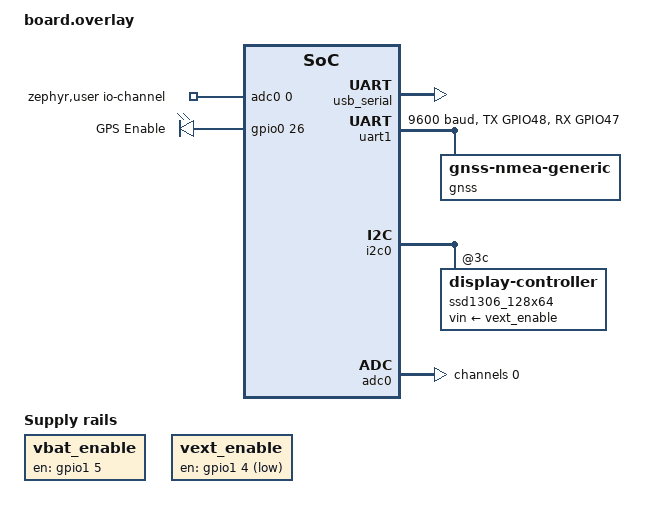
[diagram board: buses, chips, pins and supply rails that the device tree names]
/*
 * SPDX-License-Identifier: MIT
 * Heltec WiFi LoRa 32 V3 — ZephCore overlay
 *
 * The upstream Zephyr DTS already defines SX1262, SSD1306 OLED, button,
 * LED, battery ADC, Vext/ADC control, I2C0, SPI2, BLE, and WiFi.
 * This overlay adds ZephCore-specific integration on top.
 *
 * LoRa SPI2 pins:  SCLK=9, MOSI=10, MISO=11, NSS=8
 * LoRa control:    DIO1=14, BUSY=13, RESET=12
 * Display I2C0:    SDA=17, SCL=18 (SSD1306 @ 0x3C)
 * Battery ADC:     GPIO1 = ADC1 ch0 (&adc0), enable GPIO37 active-HIGH, divider 100K/390K
 * Vext:            GPIO36 (active-LOW, powers OLED) — regulator + vin-supply in overlay
 * Button:          GPIO0
 * LED:             GPIO35
 * GPS UART1:       TX=GPIO48, RX=GPIO47, 9600 baud (optional external module)
 * GPS enable:      GPIO26 (active-HIGH)
 */

#include <zephyr/dt-bindings/input/input-event-codes.h>
#include <zephyr/dt-bindings/adc/adc.h>
#include <zephyr/dt-bindings/pinctrl/esp-pinctrl-common.h>
#include <zephyr/dt-bindings/pinctrl/esp32s3-pinctrl.h>
#include <zephyr/dt-bindings/pinctrl/esp32s3-gpio-sigmap.h>

/ {
	chosen {
		/* Keep console/shell on UART0 for stable host logging on V3 */
		zephyr,console = &uart0;
		zephyr,shell-uart = &uart0;
		/* Plain-UART companion backend (CONFIG_ZEPHCORE_COMPANION_SERIAL):
		 * the wired companion + text CLI run over uart0 (USB-C via CP2102).
		 * Inert unless that conf is built; in a serial-companion build the
		 * conf also moves console/shell off uart0 so the companion owns it. */
		zephcore,companion-uart = &uart0;
	};

	/* Add label to upstream buttons node (defined without one) */
	buttons: buttons {
	};

	/* Battery ADC — ZephCore reads via zephyr,user { io-channels }.
	 * Upstream vbatt node uses voltage-divider compatible which ZephCore
	 * doesn't use (deleted below).
	 *
	 * IMPORTANT: the battery pin is GPIO1 = ADC unit 1 channel 0. In the
	 * upstream esp32s3 DTS the node *labelled* adc0 is unit 1 and the node
	 * labelled adc1 is unit 2 (the label is 0-indexed, the unit is 1-indexed).
	 * So GPIO1 lives on &adc0. The previous &adc1 (unit 2) channel 0 mapped to
	 * ADC2_CH0 = GPIO11 = the SX1262 MISO — wrong peripheral, always read 0.
	 *
	 * Multiplier: Vref_internal(1100) * divider_ratio(5.2) = 5720, matching the
	 * Heltec Wireless Tracker on the same 100K/390K divider (was 17886, which
	 * assumed a 3300mV full-scale that ADC_REF_INTERNAL does not provide). */
	zephyr,user {
		io-channels = <&adc0 0>;
		vbat-mv-multiplier = <5720>;
	};

	/* Battery ADC enable — GPIO37 (gpio1 pin 5) must be driven to read.
	 * Upstream has an adc_ctrl power-domain-gpio on the same GPIO37; it is
	 * deleted below so this regulator is the sole owner (else the two fight
	 * over the pin and the per-read enable/disable in ZephyrBoard is not
	 * deterministic). Active-HIGH on V3.2/V4 (transistor in the enable path);
	 * the previous GPIO_ACTIVE_LOW never powered the divider so the read was 0.
	 * ZephyrBoard toggles this per read, so between reads the divider draws
	 * nothing. (Early V3 boards may need GPIO_ACTIVE_LOW — see GH #50.) */
	vbat_enable: vbat-enable {
		compatible = "regulator-fixed";
		regulator-name = "vbat-enable";
		enable-gpios = <&gpio1 5 GPIO_ACTIVE_HIGH>;
	};

	/* Vext — GPIO36, active-LOW enables rail (matches Arduino periph_power / MeshCore
	 * PIN_VEXT_EN). Replaces upstream vext_ctrl power-domain so SSD1306 init works with
	 * CONFIG_PM_DEVICE=n. */
	vext_enable: vext-enable {
		compatible = "regulator-fixed";
		regulator-name = "vext";
		enable-gpios = <&gpio1 4 (GPIO_PULL_UP | GPIO_ACTIVE_LOW)>;
		regulator-boot-on;
		regulator-always-on;
	};

	/* GPS enable — GPIO26, active-HIGH (Arduino MeshCore PIN_GPS_EN=26; its
	 * PIN_GPS_EN_ACTIVE defaults to HIGH and this variant does not override it).
	 * ZephCore's simple-board GPS manager drives this via the gps-enable alias.
	 *
	 * GPIO26 is SPICS1 on the ESP32-S3 — a flash/PSRAM-range pad. It is free
	 * here because the V3 carries an ESP32-S3FN8 (in-package flash, no PSRAM),
	 * so nothing claims the PSRAM chip select. Do not reuse this pin on a V3
	 * respin that adds PSRAM. */
	gps_en: gps-enable {
		compatible = "gpio-leds";
		gps_enable_pin: gps_enable {
			gpios = <&gpio0 26 GPIO_ACTIVE_HIGH>;
			label = "GPS Enable";
		};
	};

	aliases {
		gps-enable = &gps_enable_pin;
	};

	/* Button chain — same mapping as RAK4631 / WisMesh Pocket (rak4631/board.overlay). */
	user_btn_longpress {
		compatible = "zephyr,input-longpress";
		input = <&buttons>;
		input-codes = <INPUT_KEY_0>;
		short-codes = <INPUT_KEY_A>;
		long-codes = <INPUT_KEY_ENTER>;
		long-delay-ms = <1000>;
	};

	page_btn_multitap {
		compatible = "zephcore,input-multi-tap";
		input-codes = <INPUT_KEY_A>;
		tap-codes = <INPUT_KEY_1 INPUT_KEY_LEFT>;
		tap-delay-ms = <400>;
	};
};

/* Enable native USB serial for console/CLI */
&usb_serial {
	status = "okay";
};

/* Add RX boosted mode and DIO1 pull-down to LoRa radio.
 * Upstream omits rx-boosted and has no pull-down on DIO1. */
&lora0 {
	dio1-gpios = <&gpio0 14 (GPIO_PULL_DOWN | GPIO_ACTIVE_HIGH)>;
	rx-boosted;
};

/* GPS on UART1 — optional external NMEA module on the pin header, wired to the
 * same pins Arduino MeshCore uses for this board (PIN_GPS_RX=47, PIN_GPS_TX=48).
 * Upstream leaves uart1 disabled and gives it no pinctrl, so both are set here.
 * GPIO47/48 are otherwise unclaimed on the V3; the console stays on uart0
 * (GPIO43/44). 9600 baud matches Arduino's default for this variant.
 *
 * The node is unconditional, like the RAK4631's gnss node for the optional
 * RAK1910: with no module fitted the driver simply never sees a fix. */
&pinctrl {
	uart1_default: uart1_default {
		group1 {
			pinmux = <UART1_TX_GPIO48>;
			output-high;
		};

		group2 {
			pinmux = <UART1_RX_GPIO47>;
			bias-pull-up;
		};
	};
};

&uart1 {
	status = "okay";
	current-speed = <9600>;
	pinctrl-0 = <&uart1_default>;
	pinctrl-names = "default";

	gnss: gnss-nmea-generic {
		compatible = "gnss-nmea-generic";
	};
};

/* Reduce CPU clock from 240 MHz to 160 MHz — saves power, HAL minimum */
/* I2C sensors — auto-detected at runtime */
&i2c0 {
	#include "../../common/sensors-i2c.dtsi"

	ssd1306_128x64: display-controller@3c {
		/delete-property/ power-domains;
		vin-supply = <&vext_enable>;
	};
};

/*
 * Flash partitions live in partitions.overlay (this dir) so the identical map is
 * fed to both the app and the MCUboot image — see that file and sysbuild/CMakeLists.txt.
 */

/* LittleFS auto-mount — standard /lfs mount point */
#include "../../common/filesystem.dtsi"

/* After SSD1306 no longer references vext_ctrl, remove upstream power-domain node. */
/delete-node/ &vext_ctrl;

/* Battery ADC channel configuration on adc0 (ADC unit 1 -> GPIO1).
 * adc0 is status="disabled" upstream, so enable it here. Without the channel
 * node adc_channel_setup_dt() fails and getBattMilliVolts() returns 0 before it
 * ever performs a conversion — the primary cause of the hard "0% (0mV)".
 * ADC_GAIN_1 = 0 dB with ADC_REF_INTERNAL (~1100 mV); the divider output for a
 * 3.0-4.2 V cell (~580-810 mV) sits well inside range. */
&adc0 {
	status = "okay";
	#address-cells = <1>;
	#size-cells = <0>;

	channel@0 {
		reg = <0>;
		zephyr,gain = "ADC_GAIN_1";
		zephyr,reference = "ADC_REF_INTERNAL";
		zephyr,acquisition-time = <ADC_ACQ_TIME_DEFAULT>;
		zephyr,resolution = <12>;
	};
};

/* Remove the upstream 'vbatt' voltage-divider (io-channels on &adc1 = unit 2 =
 * GPIO11 = SX1262 MISO — wrong node) and the adc_ctrl power-domain that also
 * claims GPIO37 and fights the vbat_enable regulator above. */
/ {
	/delete-node/ vbatt;
};
/delete-node/ &adc_ctrl;

/* ADC unit 2 (label adc1) is unused on this board; keep it disabled so nothing
 * can claim GPIO11 (SX1262 MISO) as an ADC pad. */
&adc1 {
	status = "disabled";
};
